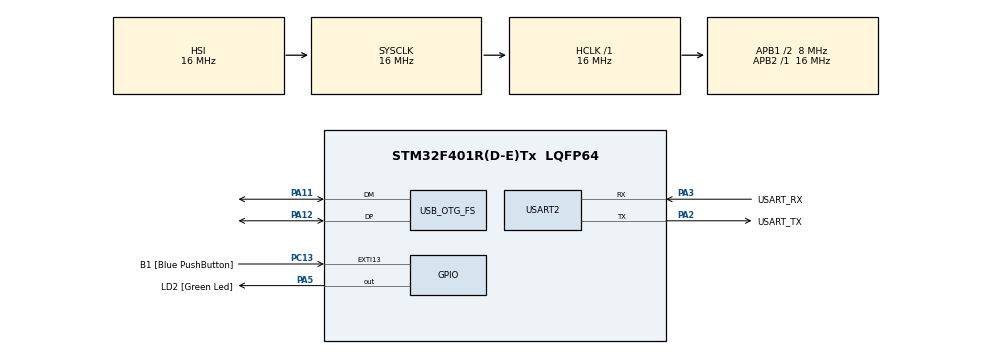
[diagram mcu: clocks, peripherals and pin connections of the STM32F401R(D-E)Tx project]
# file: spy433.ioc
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Mcu.Family=STM32F4
Mcu.Name=STM32F401R(D-E)Tx
Mcu.Package=LQFP64
NVIC.EXTI15_10_IRQn=true\:0\:0\:false\:false\:true\:true\:true
NVIC.OTG_FS_IRQn=true\:0\:0\:false\:false\:true\:false\:true
NVIC.PriorityGroup=NVIC_PRIORITYGROUP_0
PA11.Mode=Device_Only
PA11.Signal=USB_OTG_FS_DM
PA12.Mode=Device_Only
PA12.Signal=USB_OTG_FS_DP
PA13.GPIO_Label=TMS
PA13.Mode=Serial_Wire
PA13.Signal=SYS_JTMS-SWDIO
PA14.GPIO_Label=TCK
PA14.Mode=Serial_Wire
PA14.Signal=SYS_JTCK-SWCLK
PA2.GPIO_Label=USART_TX
PA2.GPIO_Mode=GPIO_MODE_AF_PP
PA2.GPIO_PuPd=GPIO_NOPULL
PA2.GPIO_Speed=GPIO_SPEED_FREQ_LOW
PA2.Mode=Asynchronous
PA2.Signal=USART2_TX
PA3.GPIO_Label=USART_RX
PA3.GPIO_Mode=GPIO_MODE_AF_PP
PA3.GPIO_PuPd=GPIO_NOPULL
PA3.GPIO_Speed=GPIO_SPEED_FREQ_LOW
PA3.Mode=Asynchronous
PA3.Signal=USART2_RX
PA5.GPIO_Label=LD2 [Green Led]
PA5.GPIO_Mode=GPIO_MODE_OUTPUT_PP
PA5.GPIO_PuPd=GPIO_NOPULL
PA5.GPIO_Speed=GPIO_SPEED_FREQ_LOW
PA5.Signal=GPIO_Output
PB3.GPIO_Label=SWO
PB3.Signal=SYS_JTDO-SWO
PC13-ANTI_TAMP.GPIO_Label=B1 [Blue PushButton]
PC13-ANTI_TAMP.GPIO_ModeDefaultEXTI=GPIO_MODE_IT_FALLING
PC13-ANTI_TAMP.GPIO_PuPd=GPIO_NOPULL
PC13-ANTI_TAMP.Signal=GPXTI13
PC14-OSC32_IN.Mode=LSE-External-Oscillator
PC14-OSC32_IN.Signal=RCC_OSC32_IN
PC15-OSC32_OUT.Mode=LSE-External-Oscillator
PC15-OSC32_OUT.Signal=RCC_OSC32_OUT
PH0\ -\ OSC_IN.Mode=HSE-External-Clock-Source
PH0\ -\ OSC_IN.Signal=RCC_OSC_IN
PH1\ -\ OSC_OUT.Mode=HSE-External-Clock-Source
PH1\ -\ OSC_OUT.Signal=RCC_OSC_OUT
ProjectManager.HeapSize=0x200
ProjectManager.StackSize=0x400
ProjectManager.TargetToolchain=STM32CubeIDE
RCC.48MHZClocksFreq_Value=48000000
RCC.AHBFreq_Value=16000000
RCC.APB1CLKDivider=RCC_HCLK_DIV2
RCC.APB1Freq_Value=8000000
RCC.APB1TimFreq_Value=16000000
RCC.APB2Freq_Value=16000000
RCC.APB2TimFreq_Value=16000000
RCC.CortexFreq_Value=16000000
RCC.HCLKFreq_Value=16000000
RCC.HSE_VALUE=8000000
RCC.HSI_VALUE=16000000
RCC.PLLM=4
RCC.PLLN=72
RCC.PLLP=RCC_PLLP_DIV4
RCC.PLLQ=3
RCC.SYSCLKFreq_VALUE=16000000
RCC.VCOOutputFreq_Value=144000000
USART2.VirtualMode=VM_ASYNC
USB_DEVICE.CLASS_NAME_FS=CDC
USB_DEVICE.VirtualMode-CDC_FS=Cdc
USB_DEVICE.VirtualModeFS=Cdc_FS
USB_OTG_FS.VirtualMode=Device_Only
VP_USB_DEVICE_VS_USB_DEVICE_CDC_FS.Mode=CDC_FS
board=NUCLEO-F401RE

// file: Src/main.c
/* USER CODE BEGIN Header */
/**
  ******************************************************************************
  * @file           : main.c
  * @brief          : Main program body
  ******************************************************************************
  * @attention
  *
  * <h2><center>&copy; Copyright (c) 2020 STMicroelectronics.
  * All rights reserved.</center></h2>
  *
  * This software component is licensed by ST under BSD 3-Clause license,
  * the "License"; You may not use this file except in compliance with the
  * License. You may obtain a copy of the License at:
  *                        opensource.org/licenses/BSD-3-Clause
  *
  ******************************************************************************
  */
/* USER CODE END Header */

#include "main.h"
#include "usart.h"
#include "usb_device.h"
#include "gpio.h"

/* USER CODE BEGIN Includes */
#include <stdbool.h>
#include "color.h"
/* USER CODE END Includes */

void SystemClock_Config(void);

/* USER CODE BEGIN 0 */
#define C_UART_TIMEOUT              2000

// Led color message declaration
typedef enum {
    E_RED_LED_STATE = 0,
    E_GREEN_LED_STATE,
    E_BLUE_LED_STATE,
    E_YELLOW_LED_STATE,
    E_MAGENTA_LED_STATE,
    E_CYAN_LED_STATE,
    E_WHITE_LED_STATE,
    E_LED_COLOR_STATE_NB_OF
} ledcolor_t;
#define C_MSG_01                    KRED    "LED Status changed! "      KNRM
#define C_MSG_02                    KGRN    "LED Status changed! "      KNRM
#define C_MSG_03                    KBLU    "LED Status changed! "      KNRM
#define C_MSG_04                    KYEL    "LED Status changed! "      KNRM
#define C_MSG_05                    KMAG    "LED Status changed! "      KNRM
#define C_MSG_06                    KCYN    "LED Status changed! "      KNRM
#define C_MSG_07                    KWHT    "LED Status changed! "      KNRM
#define C_GET_LED_COLOR(color)      (color == E_RED_LED_STATE)      ?   C_MSG_01 : \
                                    (color == E_GREEN_LED_STATE)    ?   C_MSG_02 : \
                                    (color == E_BLUE_LED_STATE)     ?   C_MSG_03 : \
                                    (color == E_YELLOW_LED_STATE)   ?   C_MSG_04 : \
                                    (color == E_MAGENTA_LED_STATE)  ?   C_MSG_05 : \
                                    (color == E_CYAN_LED_STATE)     ?   C_MSG_06 : \
                                                                        C_MSG_07
// Led status message declaration
typedef enum {
    E_OFF_LED_STATE = 0,
    E_ON_LED_STATE,
    E_LED_STATE_NB_OF
} ledstate_t;
#define C_OFF_STATE                 KRED    "OFF \n\r"                  KNRM
#define C_ON_LED_STATE              KGRN    "ON  \n\r"                  KNRM
#define C_GET_LED_STR(state)        (state == E_OFF_LED_STATE) ? C_OFF_STATE : C_ON_LED_STATE

static uint8_t gMsgSent = true;
static uint8_t gIsLedEnabled = false;

void setActionOnButtonInterrupt(void) {
   if (true == gIsLedEnabled) {
        HAL_GPIO_WritePin(LD2_GPIO_Port, LD2_Pin, GPIO_PIN_RESET);
        gIsLedEnabled = false;
    }
    else {
        HAL_GPIO_WritePin(LD2_GPIO_Port, LD2_Pin, GPIO_PIN_SET);
        gIsLedEnabled = true;
    }
    gMsgSent = false;
}
/* USER CODE END 0 */

int main(void)
{

  /* MCU Configuration--------------------------------------------------------*/

  /* Reset of all peripherals, Initializes the Flash interface and the Systick. */
  HAL_Init();

  /* Configure the system clock */
  SystemClock_Config();

  /* Initialize all configured peripherals */
  MX_GPIO_Init();
  MX_USART2_UART_Init();
  MX_USB_DEVICE_Init();
  /* USER CODE BEGIN 2 */
  gpioSetCallback( E_GPIO_B1_PIN_CALLBACK, (gpioCallback_t)setActionOnButtonInterrupt, NULL, NULL);
  /* USER CODE END 2 */

  /* Infinite loop */
  while (1)
  {
      static uint8_t i=0;
      if (false == gMsgSent) {
        gMsgSent = true;
        HAL_UART_Transmit(&huart2, (uint8_t*)(C_GET_LED_COLOR(i)), strlen(C_GET_LED_COLOR(i)), C_UART_TIMEOUT);
        HAL_UART_Transmit(&huart2, (uint8_t*)(C_GET_LED_STR(gIsLedEnabled)), strlen((C_GET_LED_STR(gIsLedEnabled))), C_UART_TIMEOUT);
        i++;
        if (i >= E_LED_COLOR_STATE_NB_OF) i = 0;
      }
  }
}

void SystemClock_Config(void)
{
  RCC_OscInitTypeDef RCC_OscInitStruct = {0};
  RCC_ClkInitTypeDef RCC_ClkInitStruct = {0};

  /** Configure the main internal regulator output voltage
  */
  __HAL_RCC_PWR_CLK_ENABLE();
  __HAL_PWR_VOLTAGESCALING_CONFIG(PWR_REGULATOR_VOLTAGE_SCALE2);
  /** Initializes the CPU, AHB and APB busses clocks
  */
  RCC_OscInitStruct.OscillatorType = RCC_OSCILLATORTYPE_HSI|RCC_OSCILLATORTYPE_HSE;
  RCC_OscInitStruct.HSEState = RCC_HSE_BYPASS;
  RCC_OscInitStruct.HSIState = RCC_HSI_ON;
  RCC_OscInitStruct.HSICalibrationValue = RCC_HSICALIBRATION_DEFAULT;
  RCC_OscInitStruct.PLL.PLLState = RCC_PLL_ON;
  RCC_OscInitStruct.PLL.PLLSource = RCC_PLLSOURCE_HSE;
  RCC_OscInitStruct.PLL.PLLM = 4;
  RCC_OscInitStruct.PLL.PLLN = 72;
  RCC_OscInitStruct.PLL.PLLP = RCC_PLLP_DIV4;
  RCC_OscInitStruct.PLL.PLLQ = 3;
  if (HAL_RCC_OscConfig(&RCC_OscInitStruct) != HAL_OK)
  {
    Error_Handler();
  }
  /** Initializes the CPU, AHB and APB busses clocks
  */
  RCC_ClkInitStruct.ClockType = RCC_CLOCKTYPE_HCLK|RCC_CLOCKTYPE_SYSCLK
                              |RCC_CLOCKTYPE_PCLK1|RCC_CLOCKTYPE_PCLK2;
  RCC_ClkInitStruct.SYSCLKSource = RCC_SYSCLKSOURCE_HSI;
  RCC_ClkInitStruct.AHBCLKDivider = RCC_SYSCLK_DIV1;
  RCC_ClkInitStruct.APB1CLKDivider = RCC_HCLK_DIV2;
  RCC_ClkInitStruct.APB2CLKDivider = RCC_HCLK_DIV1;

  if (HAL_RCC_ClockConfig(&RCC_ClkInitStruct, FLASH_LATENCY_0) != HAL_OK)
  {
    Error_Handler();
  }
}

void Error_Handler(void)
{
}

/************************ (C) COPYRIGHT STMicroelectronics *****END OF FILE****/
